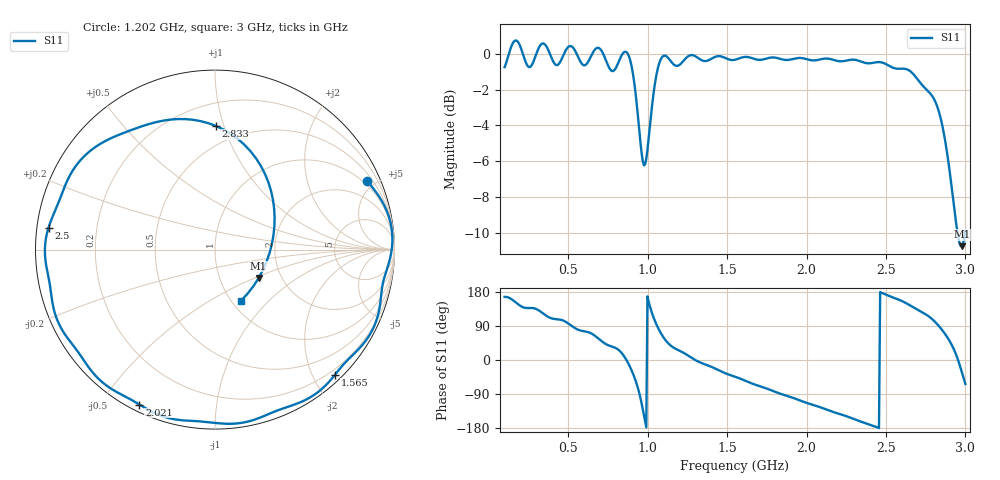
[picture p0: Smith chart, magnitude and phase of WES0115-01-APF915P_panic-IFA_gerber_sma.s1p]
! openEMS-z2labs kicad_sim, WES0115-01-APF915P_panic-IFA.kicad_pcb
! ports: 1=SMA5 (F.Cu over B.Cu)
! stackup: file
! copper: sheet, mask: False
# Hz S RI R 50
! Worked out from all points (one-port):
!   401 points, 100 MHz to 3 GHz, reference 50 ohm
!   lowest |S11| = -10.7 dB at 2.978 GHz (marker M1), VSWR 1.82, Z = 76.6 - j26.5 ohm
!   |S11| at or under -10 dB: 2.95 GHz to 2.998 GHz (47.8 MHz wide, 1.61 % of centre)
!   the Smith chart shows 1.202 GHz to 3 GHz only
!   S11 on the Smith chart (normalised r, x): 1.202 GHz: 0.78, +4.52; 1.565 GHz: 0.11, -2.34; 2.021 GHz: 0.03, -0.62; 2.5 GHz: 0.03, +0.07; 2.833 GHz: 0.36, +0.94; 3 GHz: 1.10, -0.70
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1e8  -0.8923 0.2142
1.58e8  -0.9884 0.4378
2.015e8  -0.8231 0.6363
4.625e8  -0.2556 0.9401
5.205e8  -0.00847 1.049
6.7275e8  0.4757 0.9159
8.25e8  0.8839 0.3881
8.7575e8  0.9919 -0.1188
9.265e8  0.4133 -0.6377
9.555e8  -0.1084 -0.5517
9.99e8  -0.5272 0.1124
1.03525e9  -0.3176 0.6926
1.0715e9  0.1631 0.9214
1.12225e9  0.6624 0.7229
1.1875e9  0.8228 0.4227
1.202e9  0.8494 0.3828
1.29625e9  0.9862 0.0141
1.55e9  0.691 -0.6691
1.5645e9  0.6682 -0.6976
1.9125e9  -0.1599 -0.9529
2.02125e9  -0.4207 -0.8635
2.275e9  -0.8485 -0.4528
2.49975e9  -0.9275 0.1222
2.6375e9  -0.7611 0.4846
2.83325e9  0.00491 0.689
2.90575e9  0.3122 0.3274
2.97825e9  0.2431 -0.1585
3e9  0.1441 -0.2856
